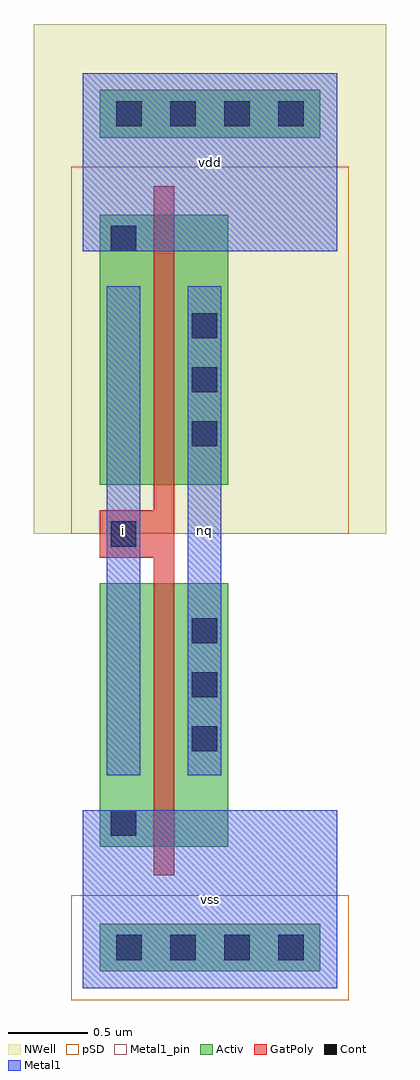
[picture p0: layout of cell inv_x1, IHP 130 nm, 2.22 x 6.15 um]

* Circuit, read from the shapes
.subckt inv_x1 i nq vdd vss
XM1 nq i vss vss sg13_lv_nmos w=1.66u l=0.13u
XM2 nq i vdd vdd sg13_lv_pmos w=1.7u l=0.13u
.ends

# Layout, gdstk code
import gdstk
lib = gdstk.Library(unit=1e-6, precision=1e-09)
def R(c, l, rs):  # rectangles x0, y0, x1, y1
    for r in rs: c.add(gdstk.rectangle(r[:2], r[2:], *l))
def A(c, l, x, y, w, h, nx, ny, dx, dy):  # array of equal rectangles
    R(c, l, [(x+i*dx, y+j*dy, x+i*dx+w, y+j*dy+h) for i in range(nx) for j in range(ny)])
def P(c, l, *ps):  # polygons
    for p in ps: c.add(gdstk.Polygon(p, *l))
Activ = (1, 0)
GatPoly = (5, 0)
Cont = (6, 0)
Metal1 = (8, 0)
Metal1_pin = (8, 2)
pSD = (14, 0)
NWell = (31, 0)

inv_x1 = lib.new_cell('inv_x1')
R(inv_x1, Activ, [(0.105,0.105,1.495,0.405), (0.105,0.89,0.915,2.55), (0.105,3.17,0.915,4.87), (0.105,5.355,1.495,5.655)])
P(inv_x1, GatPoly, [(0.445,0.71),(0.445,2.71),(0.105,2.71),(0.105,3.01),(0.445,3.01),(0.445,5.05),(0.575,5.05),(0.575,0.71)])
A(inv_x1, Cont, 0.21, 0.175, 0.16, 0.16, 4, 2, 0.34, 5.25)
A(inv_x1, Cont, 0.685, 1.49, 0.16, 0.16, 1, 3, 0, 0.34)
A(inv_x1, Cont, 0.685, 3.41, 0.16, 0.16, 1, 3, 0, 0.34)
R(inv_x1, Cont, [(0.175,0.96,0.335,1.12), (0.175,2.78,0.335,2.94), (0.175,4.64,0.335,4.8)])
R(inv_x1, Metal1, [(0,0,1.6,1.12), (0.15,1.34,0.36,4.42), (0.66,1.34,0.87,4.42), (0,4.64,1.6,5.76)])
R(inv_x1, Metal1_pin, [(0,0,1.6,1.12), (0.15,1.34,0.36,4.42), (0.66,1.34,0.87,4.42), (0,4.64,1.6,5.76)])
R(inv_x1, pSD, [(-0.075,-0.075,1.675,0.585), (-0.075,2.86,1.675,5.17)])
R(inv_x1, NWell, [(-0.31,2.86,1.91,6.07)])
inv_x1.add(gdstk.Label('vss', (0.8,0.56), layer=8, texttype=2))
inv_x1.add(gdstk.Label('vdd', (0.8,5.2), layer=8, texttype=2))
inv_x1.add(gdstk.Label('nq', (0.765,2.88), layer=8, texttype=2))
inv_x1.add(gdstk.Label('i', (0.255,2.88), layer=8, texttype=2))

lib.write_gds('inv_x1.gds')
